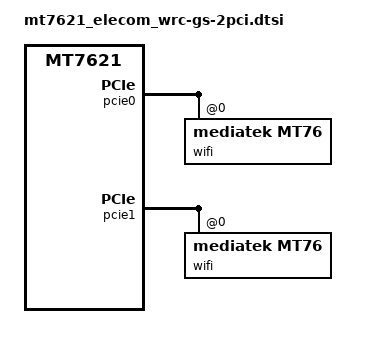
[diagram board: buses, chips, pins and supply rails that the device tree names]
// SPDX-License-Identifier: GPL-2.0-only

#include "mt7621_elecom_wrc-gs.dtsi"

&state_default {
	gpio {
		groups = "uart3", "jtag", "wdt", "sdhci";
		function = "gpio";
	};
};

&pcie0 {
	wifi@0,0 {
		compatible = "mediatek,mt76";
		reg = <0x0000 0 0 0 0>;
		nvmem-cells = <&eeprom_factory_0>;
		nvmem-cell-names = "eeprom";
		ieee80211-freq-limit = <2400000 2500000>;

		led {
			led-sources = <0>;
			led-active-low;
		};
	};
};

&pcie1 {
	wifi@0,0 {
		compatible = "mediatek,mt76";
		reg = <0x0000 0 0 0 0>;
		nvmem-cells = <&eeprom_factory_8000>;
		nvmem-cell-names = "eeprom";
		ieee80211-freq-limit = <5000000 6000000>;

		led {
			led-sources = <0>;
			led-active-low;
		};
	};
};
